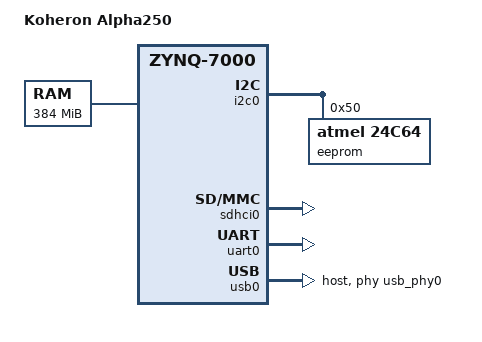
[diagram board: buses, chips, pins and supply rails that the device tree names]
/*
    * Koheron Alpha250 devicetree
     *
      * Copyright (C) 2015 Antmicro Ltd
       * Copyright (C) 2025 Koheron SAS
        *
         * SPDX-License-Identifier: GPL-2.0+
          */
/dts-v1/;
#include "zynq-7000.dtsi"
/ {
  model = "Koheron Alpha250";
  compatible = "xlnx,zynq-red-pitaya","xlnx,zynq-7000";
  aliases {
    serial0 = &uart0;
    mmc0 = &sdhci0;
  };
  memory@0 {
      device_type = "memory";
      reg = <0 0x18000000>;
    };
  chosen {
      bootargs = "";
      stdout-path = "serial0:115200n8";
    };
  usb_phy0: phy0@e0002000 {
    compatible = "ulpi-phy";
    #phy-cells = <0>;
    reg = <0xe0002000 0x1000>;
    view-port = <0x0170>;
    drv-vbus;
 };
};
&i2c0 {
  status = "okay";
  eeprom@50 {
      compatible = "atmel,24c64";   // 8 KiB, 16-bit addressing
      reg = <0x50>;
      pagesize = <32>;
  };
};
&sdhci0 {
  bootph-pre-ram;
  status = "okay";
};
&uart0 {
  bootph-pre-ram;
  status = "okay";
};
&usb0 {
  status = "okay";
  dr_mode = "host";
  usb-phy = <&usb_phy0>;
};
